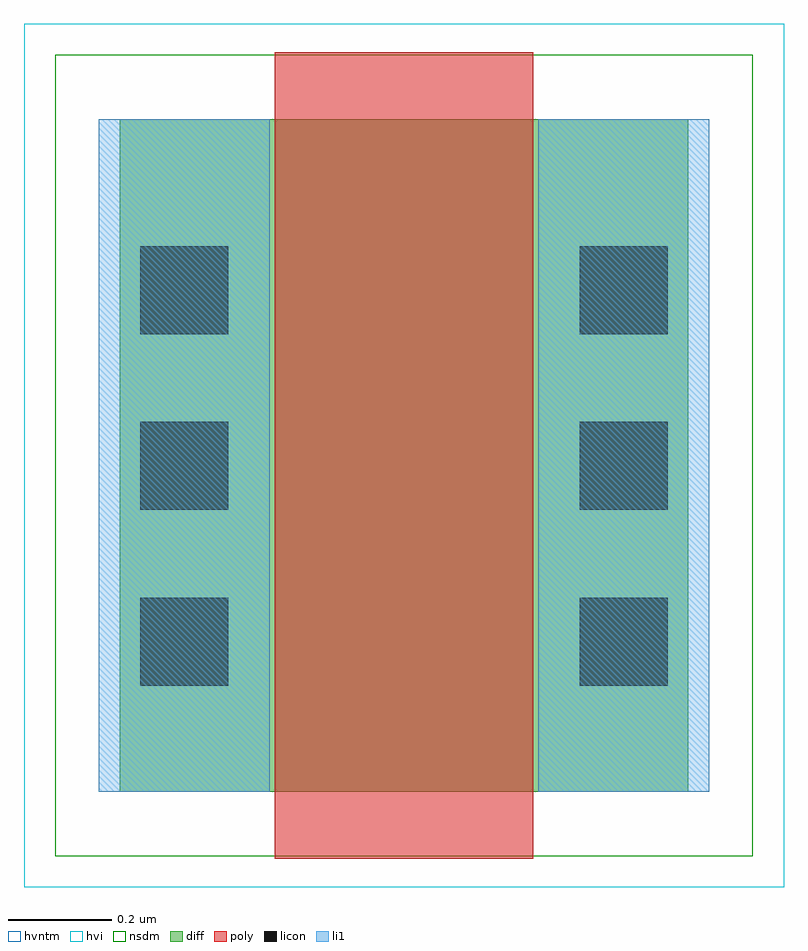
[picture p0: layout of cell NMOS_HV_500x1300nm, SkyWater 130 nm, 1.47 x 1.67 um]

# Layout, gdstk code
import gdstk
lib = gdstk.Library(unit=1e-6, precision=1e-09)
def R(c, l, rs):  # rectangles x0, y0, x1, y1
    for r in rs: c.add(gdstk.rectangle(r[:2], r[2:], *l))
def A(c, l, x, y, w, h, nx, ny, dx, dy):  # array of equal rectangles
    R(c, l, [(x+i*dx, y+j*dy, x+i*dx+w, y+j*dy+h) for i in range(nx) for j in range(ny)])
diff = (65, 20)
poly = (66, 20)
licon = (66, 44)
li1 = (67, 20)
hvi = (75, 20)
nsdm = (93, 44)
hvntm = (125, 20)

nmos_hv_500x1300nm = lib.new_cell('NMOS_HV_500x1300nm')
R(nmos_hv_500x1300nm, diff, [(-2.83,-0.08,-1.73,1.22)])
R(nmos_hv_500x1300nm, poly, [(-2.53,-0.21,-2.03,1.35)])
A(nmos_hv_500x1300nm, licon, -2.79, 0.125, 0.17, 0.17, 1, 3, 0, 0.34)
A(nmos_hv_500x1300nm, licon, -1.94, 0.125, 0.17, 0.17, 1, 3, 0, 0.34)
R(nmos_hv_500x1300nm, li1, [(-2.87,-0.08,-2.54,1.22), (-2.02,-0.08,-1.69,1.22)])
R(nmos_hv_500x1300nm, hvi, [(-3.015,-0.265,-1.545,1.405)])
R(nmos_hv_500x1300nm, nsdm, [(-2.955,-0.205,-1.605,1.345)])
R(nmos_hv_500x1300nm, hvntm, [(-3.015,-0.265,-1.545,1.405)])

lib.write_gds('NMOS_HV_500x1300nm.gds')
